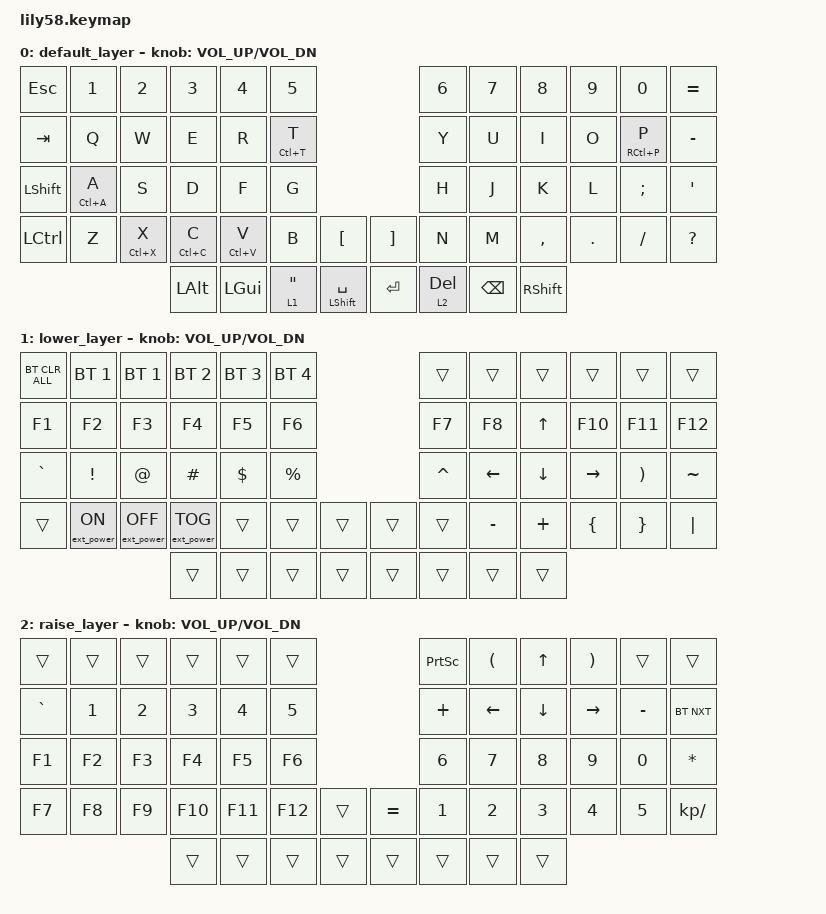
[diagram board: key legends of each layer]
/*
 * Copyright (c) 2020 The ZMK Contributors
 *
 * SPDX-License-Identifier: MIT
 */

#include <behaviors.dtsi>
#include <dt-bindings/zmk/bt.h>
#include <dt-bindings/zmk/ext_power.h>
#include <dt-bindings/zmk/keys.h>

/ {
    combos {
        compatible = "zmk,combos";

        combo_esc {
            timeout-ms = <50>;
            key-positions = <0>;
            bindings = <&kp ESC>;
        };
    };

    behaviors {
        ss_hs_modmorph: ss_hs_modmorph {
            compatible = "zmk,behavior-mod-morph";
            label = "SS_HS_MODMORPH";
            bindings = <&kp M>, <&kp RIGHT_BRACKET>;

            #binding-cells = <0>;
            mods = <(MOD_LSFT|MOD_RSFT)>;
        };

        kh_hs_tapdance: kh_hs_tapdance {
            compatible = "zmk,behavior-tap-dance";
            label = "KH_HS_TAPDANCE";
            #binding-cells = <0>;
            tapping-term-ms = <200>;
            bindings = <&kp LEFT_BRACKET>, <&kp RIGHT_BRACKET>;
        };

        hrm: hrm {
            compatible = "zmk,behavior-hold-tap";
            #binding-cells = <2>;
            flavor = "tap-preferred";
            tapping-term-ms = <100>;
            quick-tap-ms = <50>;
            require-prior-idle-ms = <125>;
            bindings = <&kp>, <&kp>;
        };
    };

    keymap {
        compatible = "zmk,keymap";

        default_layer {
            // ------------------------------------------------------------------------------------------------------------
            // |  ESC  |  1  |  2  |  3   |  4   |  5   |                   |  6   |  7    |  8    |  9   |   0   |   `   |
            // |  TAB  |  Q  |  W  |  E   |  R   |  T   |                   |  Y   |  U    |  I    |  O   |   P   |   -   |
            // |  CTRL |  A  |  S  |  D   |  F   |  G   |                   |  H   |  J    |  K    |  L   |   ;   |   '   |
            // | SHIFT |  Z  |  X  |  C   |  V   |  B   |   "["  |  |  "]"  |  N   |  M    |  ,    |  .   |   /   | SHIFT |
            //                     | ALT  | GUI  | LOWER|  SPACE |  | ENTER | RAISE| BSPC  | GUI   |

            bindings = <
&kp ESC           &kp NUMBER_1  &kp N2       &kp N3       &kp N4       &kp N5                                                  &kp N6        &kp N7    &kp N8           &kp N9      &kp N0         &kp EQUAL
&kp TAB           &kp Q         &kp W        &kp E        &kp R        &mt LC(T) T                                             &kp Y         &kp U     &kp I            &kp O       &mt RC(P) P    &kp MINUS
&kp LEFT_SHIFT    &mt LC(A) A   &kp S        &kp D        &kp F        &kp G                                                   &kp H         &kp J     &kp K            &kp L       &kp SEMICOLON  &kp SINGLE_QUOTE
&kp LEFT_CONTROL  &kp Z         &mt LC(X) X  &mt LC(C) C  &mt LC(V) V  &kp B        &kp LEFT_BRACKET        &kp RIGHT_BRACKET  &kp N         &kp M     &kp COMMA        &kp PERIOD  &kp FSLH       &kp QUESTION
                                             &kp LALT     &kp LGUI     &lt 1 DQT    &mt LEFT_SHIFT SPACE    &kp RET            &lt 2 DELETE  &kp BSPC  &kp RIGHT_SHIFT
            >;

            sensor-bindings = <&inc_dec_kp C_VOL_UP C_VOL_DN>;
        };

        lower_layer {
            // ------------------------------------------------------------------------------------------------------------
            // | BTCLR | BT1 | BT2 |  BT3 |  BT4 |  BT5 |                   |      |       |       |      |       |       |
            // |  F1   |  F2 |  F3 |  F4  |  F5  |  F6  |                   |  F7  |  F8   |  F9   |  F10 |  F11  |  F12  |
            // |   `   |  !  |  @  |  #   |  $   |  %   |                   |  ^   |  &    |  *    |  (   |   )   |   ~   |
            // |       |     |     |      |      |      |        |  |       |      |  _    |  +    |  {   |   }   |  "|"  |
            //                     |      |      |      |        |  |       |      |       |       |

            bindings = <
&bt BT_CLR_ALL  &bt BT_SEL 1      &bt BT_SEL 1       &bt BT_SEL 2       &bt BT_SEL 3  &bt BT_SEL 4                    &trans     &trans          &trans    &trans     &trans    &trans
&kp F1          &kp F2            &kp F3             &kp F4             &kp F5        &kp F6                          &kp F7     &kp F8          &kp UP    &kp F10    &kp F11   &kp F12
&kp GRAVE       &kp EXCL          &kp AT             &kp HASH           &kp DOLLAR    &kp PRCNT                       &kp CARET  &kp LEFT_ARROW  &kp DOWN  &kp RIGHT  &kp RPAR  &kp TILDE
&trans          &ext_power EP_ON  &ext_power EP_OFF  &ext_power EP_TOG  &trans        &trans        &trans    &trans  &trans     &kp MINUS       &kp PLUS  &kp LBRC   &kp RBRC  &kp PIPE
                                                     &trans             &trans        &trans        &trans    &trans  &trans     &trans          &trans
            >;

            sensor-bindings = <&inc_dec_kp C_VOL_UP C_VOL_DN>;
        };

        raise_layer {
            // ------------------------------------------------------------------------------------------------------------
            // |       |     |     |      |      |      |                   |      |       |       |      |       |       |
            // |   `   |  1  |  2  |  3   |  4   |  5   |                   |  6   |   7   |   8   |  9   |   0   |       |
            // |   F1  |  F2 |  F3 |  F4  |  F5  |  F6  |                   |      |   <-  |   v   |  ^   |  ->   |       |
            // |   F7  |  F8 |  F9 |  F10 |  F11 |  F12 |        |  |       |  +   |   -   |   =   |  [   |   ]   |   \   |
            //                     |      |      |      |        |  |       |      |       |       |

            bindings = <
&trans     &trans  &trans  &trans   &trans   &trans                        &kp PRINTSCREEN  &kp LEFT_PARENTHESIS  &kp UP_ARROW  &kp RIGHT_PARENTHESIS  &trans     &trans
&kp GRAVE  &kp N1  &kp N2  &kp N3   &kp N4   &kp N5                        &kp PLUS         &kp LEFT_ARROW        &kp DOWN      &kp RIGHT_ARROW        &kp MINUS  &bt BT_NXT
&kp F1     &kp F2  &kp F3  &kp F4   &kp F5   &kp F6                        &kp NUMBER_6     &kp N7                &kp N8        &kp N9                 &kp N0     &kp ASTERISK
&kp F7     &kp F8  &kp F9  &kp F10  &kp F11  &kp F12  &trans    &kp EQUAL  &kp NUMBER_1     &kp NUMBER_2          &kp NUMBER_3  &kp NUMBER_4           &kp N5     &kp KP_SLASH
                           &trans   &trans   &trans   &trans    &trans     &trans           &trans                &trans
            >;

            sensor-bindings = <&inc_dec_kp C_VOL_UP C_VOL_DN>;
        };
    };
};
